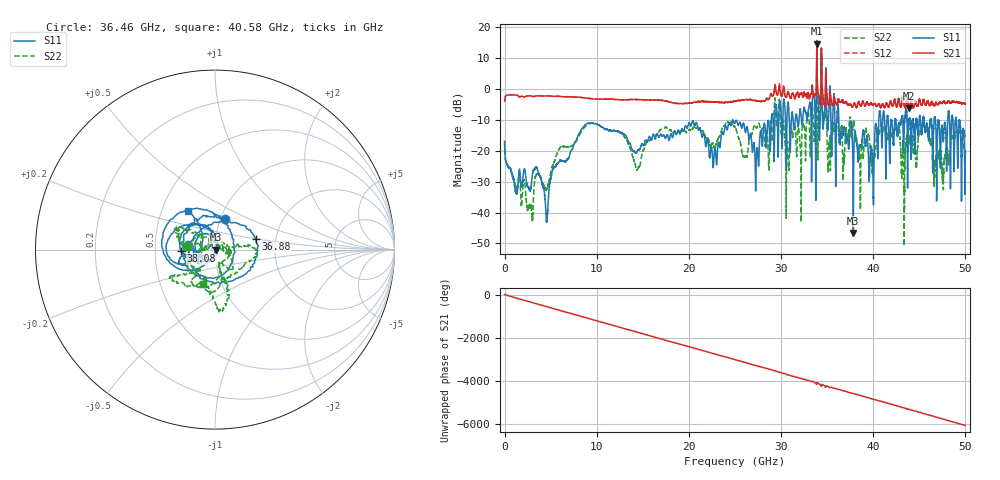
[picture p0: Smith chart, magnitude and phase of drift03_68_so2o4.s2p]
!Created with skrf (http://scikit-rf.org).
# Hz S RI R 50.0
!freq ReS11 ImS11 ReS21 ImS21 ReS12 ImS12 ReS22 ImS22
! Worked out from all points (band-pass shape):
!   10001 points, 300 kHz to 50 GHz, reference 50 ohm
!   highest |S21| = 14.59 dB at 33.88 GHz (marker M1); lowest = -6.3 dB at 43.87 GHz (marker M2)
!   |S21| within 3 dB of the highest: 33.86945 GHz to 33.88805 GHz (18.6 MHz wide, 0.0549 % of centre); 34.37703 GHz to 34.38806 GHz (11.03 MHz wide, 0.0321 % of centre)
!   lowest |S11| = -46.6 dB at 37.84 GHz (marker M3), VSWR 1.01, Z = 50.5 - j0.12 ohm
!   |S11| at or under -10 dB: start of sweep to 28.94 GHz; 36.26 GHz to 40.6 GHz (4.335 GHz wide, 11.3 % of centre); 46.75 GHz to 48.08 GHz (1.325 GHz wide, 2.8 % of centre) (the widest 3 of 57)
!   |S22| runs from -50.9 to 11.3 dB; largest |S21 - S12| = 0.81
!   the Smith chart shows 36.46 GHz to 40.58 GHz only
!   S11 on the Smith chart (normalised r, x): 36.46 GHz: 1.05, +0.37; 36.88 GHz: 1.57, +0.19; 38.08 GHz: 0.68, -0.01; 40.58 GHz: 0.68, +0.31
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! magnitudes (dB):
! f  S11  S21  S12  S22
! 300 kHz  -17.0  -4.0  -4.0  -16.8
! 2.82 GHz  -32.7  -2.4  -2.4  -37.9
! 4.555 GHz  -43.2  -2.3  -2.3  -32.5
! 8.335 GHz  -13.1  -2.8  -2.8  -13.9
! 14.45 GHz  -19.9  -3.5  -3.5  -25.9
! 16.67 GHz  -15.4  -3.7  -3.7  -14.3
! 22.82 GHz  -19.2  -4.3  -4.3  -19.1
! 25 GHz  -10.9  -4.0  -4.0  -12.5
! 26.09 GHz  -13.7  -3.6  -3.6  -21.9
! 27.39 GHz  -19.4  -4.1  -4.1  -12.5
! 29.6 GHz  -10.5  -2.0  -2.1  -11.7
! 30.7 GHz  -5.6  -1.4  -1.5  -17.0
! 33.34 GHz  -14.2  -0.3  -0.4  -6.9
! 33.88 GHz  15.6  14.6  14.3  11.1
! 36.46 GHz  -14.9  -4.3  -4.4  -16.1
! 36.88 GHz  -12.7  -4.6  -4.6  -21.6
! 37.84 GHz  -46.6  -5.4  -5.5  -11.2
! 38.08 GHz  -14.5  -5.6  -5.4  -17.0
! 40.58 GHz  -11.6  -4.9  -4.9  -13.8
! 41.67 GHz  -12.1  -5.9  -6.0  -15.5
! 43.87 GHz  -10.0  -6.3  -6.2  -17.2
! 50 GHz  -20.0  -4.9  -4.9  -15.2
